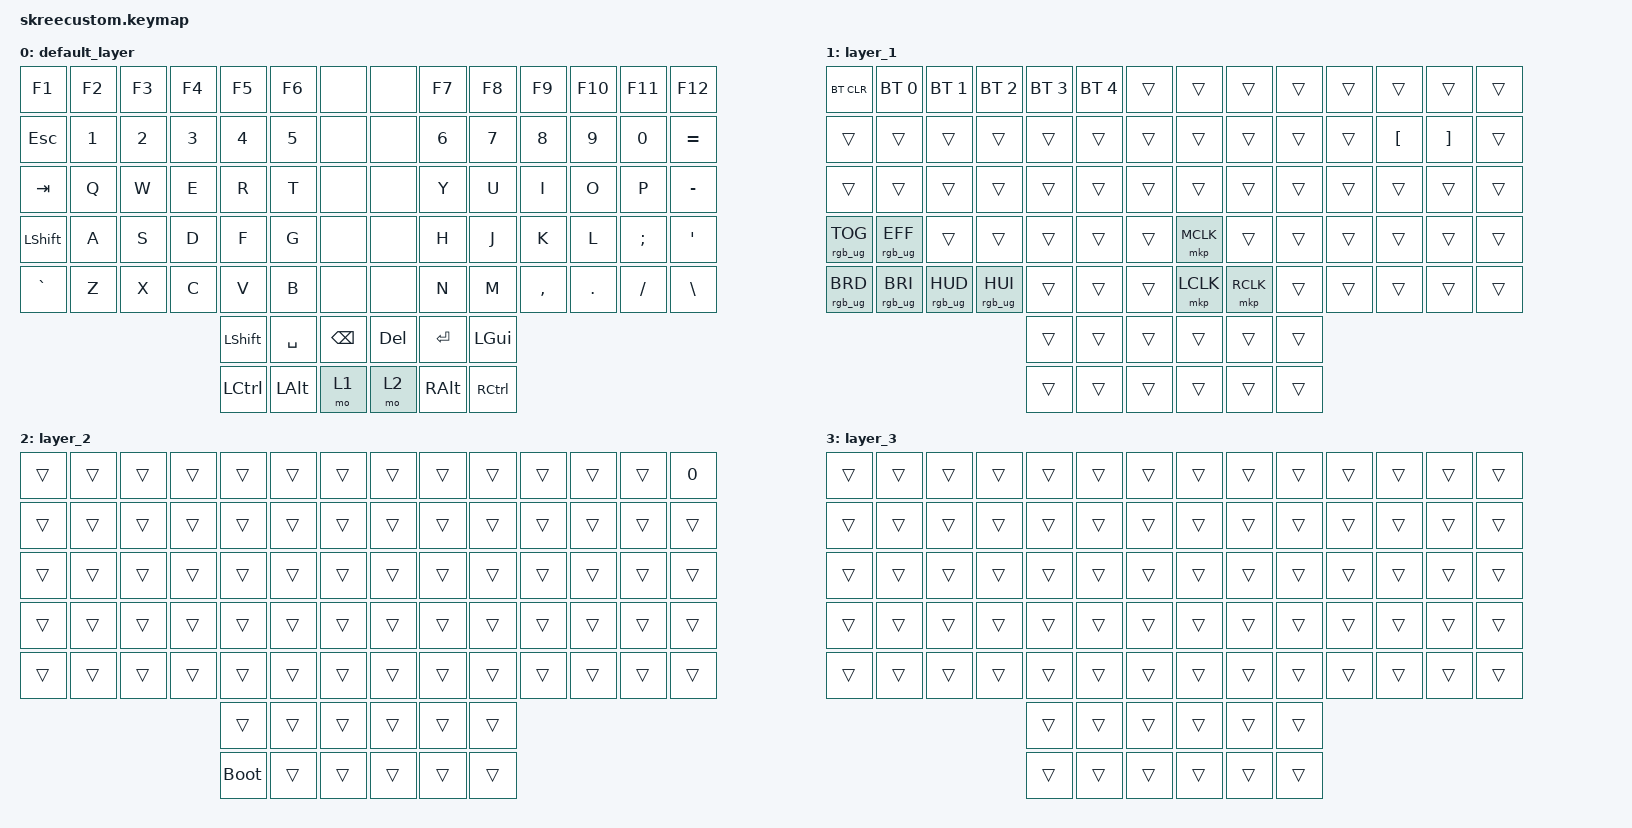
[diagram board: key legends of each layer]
/*
 * Copyright (c) 2020 The ZMK Contributors
 *
 * SPDX-License-Identifier: MIT
 */
//#include <behaviors/mouse_keys.dtsi>

#include <behaviors.dtsi>
#include <dt-bindings/zmk/bt.h>
#include <dt-bindings/zmk/keys.h>
//#include <dt-bindings/zmk/pointing.h>
#include <dt-bindings/zmk/rgb.h>

/ {
    keymap {
        compatible = "zmk,keymap";

        default_layer {
            bindings = <
&kp F1     &kp F2  &kp F3  &kp F4  &kp F5     &kp F6     &none       &none    &kp F7    &kp F8     &kp F9     &kp F10  &kp F11   &kp F12
&kp ESC    &kp N1  &kp N2  &kp N3  &kp N4     &kp N5     &none       &none    &kp N6    &kp N7     &kp N8     &kp N9   &kp N0    &kp EQUAL
&kp TAB    &kp Q   &kp W   &kp E   &kp R      &kp T      &none       &none    &kp Y     &kp U      &kp I      &kp O    &kp P     &kp MINUS
&kp LSHFT  &kp A   &kp S   &kp D   &kp F      &kp G      &none       &none    &kp H     &kp J      &kp K      &kp L    &kp SEMI  &kp SQT
&kp GRAVE  &kp Z   &kp X   &kp C   &kp V      &kp B      &none       &none    &kp N     &kp M      &kp COMMA  &kp DOT  &kp FSLH  &kp BSLH
                                   &kp LSHFT  &kp SPACE  &kp BSPC    &kp DEL  &kp RET   &kp LGUI
                                   &kp LCTRL  &kp LALT   &mo 1       &mo 2    &kp RALT  &kp RCTRL
            >;
        };

        layer_1 {
            bindings = <
&bt BT_CLR       &bt BT_SEL 0     &bt BT_SEL 1     &bt BT_SEL 2     &bt BT_SEL 3  &bt BT_SEL 4  &trans    &trans     &trans     &trans  &trans  &trans            &trans             &trans
&trans           &trans           &trans           &trans           &trans        &trans        &trans    &trans     &trans     &trans  &trans  &kp LEFT_BRACKET  &kp RIGHT_BRACKET  &trans
&trans           &trans           &trans           &trans           &trans        &trans        &trans    &trans     &trans     &trans  &trans  &trans            &trans             &trans
&rgb_ug RGB_TOG  &rgb_ug RGB_EFF  &trans           &trans           &trans        &trans        &trans    &mkp MCLK  &trans     &trans  &trans  &trans            &trans             &trans
&rgb_ug RGB_BRD  &rgb_ug RGB_BRI  &rgb_ug RGB_HUD  &rgb_ug RGB_HUI  &trans        &trans        &trans    &mkp LCLK  &mkp RCLK  &trans  &trans  &trans            &trans             &trans
                                                                    &trans        &trans        &trans    &trans     &trans     &trans
                                                                    &trans        &trans        &trans    &trans     &trans     &trans
            >;
        };

        layer_2 {
            bindings = <
&trans  &trans  &trans  &trans  &trans       &trans  &trans    &trans  &trans  &trans  &trans  &trans  &trans  &kp N0
&trans  &trans  &trans  &trans  &trans       &trans  &trans    &trans  &trans  &trans  &trans  &trans  &trans  &trans
&trans  &trans  &trans  &trans  &trans       &trans  &trans    &trans  &trans  &trans  &trans  &trans  &trans  &trans
&trans  &trans  &trans  &trans  &trans       &trans  &trans    &trans  &trans  &trans  &trans  &trans  &trans  &trans
&trans  &trans  &trans  &trans  &trans       &trans  &trans    &trans  &trans  &trans  &trans  &trans  &trans  &trans
                                &trans       &trans  &trans    &trans  &trans  &trans
                                &bootloader  &trans  &trans    &trans  &trans  &trans
            >;
        };

        layer_3 {
            bindings = <
&trans  &trans  &trans  &trans  &trans  &trans  &trans    &trans  &trans  &trans  &trans  &trans  &trans  &trans
&trans  &trans  &trans  &trans  &trans  &trans  &trans    &trans  &trans  &trans  &trans  &trans  &trans  &trans
&trans  &trans  &trans  &trans  &trans  &trans  &trans    &trans  &trans  &trans  &trans  &trans  &trans  &trans
&trans  &trans  &trans  &trans  &trans  &trans  &trans    &trans  &trans  &trans  &trans  &trans  &trans  &trans
&trans  &trans  &trans  &trans  &trans  &trans  &trans    &trans  &trans  &trans  &trans  &trans  &trans  &trans
                                &trans  &trans  &trans    &trans  &trans  &trans
                                &trans  &trans  &trans    &trans  &trans  &trans
            >;
        };
    };
};
